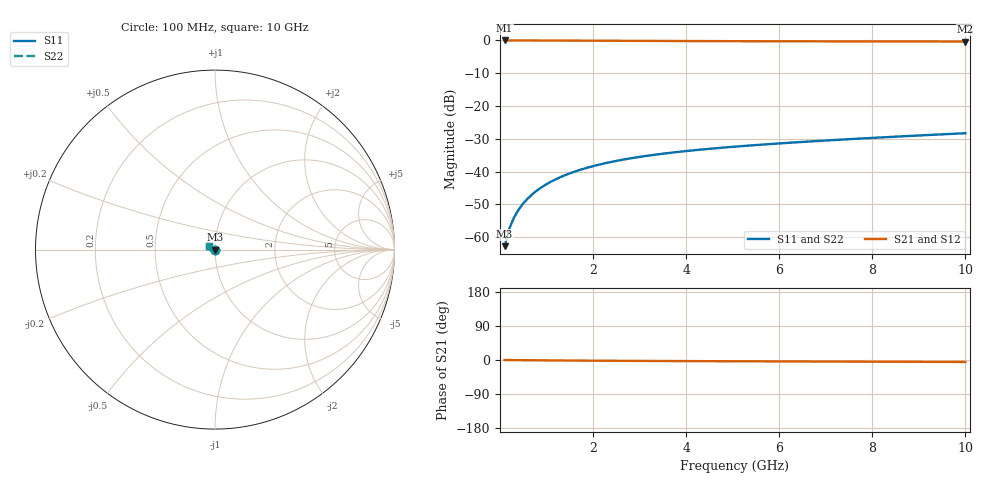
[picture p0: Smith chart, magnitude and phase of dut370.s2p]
! Touchstone file exported from HFSS 2024.1.0
!  File:  C:/UserFiles/LocalFiles/RDL_TSV_Batchsim/temp_TSV1_370_1779621906.aedt
!  Generated:  07:31:12 PM May 24, 2026
!  Design:  TSV1
!  Project:  temp_TSV1_370_1779621906
!  Setup:  Setup1
!  Solution:  Sweep
! Variables:
!  dtsv = 6.5um
!  hbump = 3um
!  htsv = 76.09um
!  lrdl = 252.1521522um
!  p = 40
!  p1 = 52.17um
!  t = 500um
!  trdl = 3um
!  wrdl = 24.89489489um
# GHz S MA R 50.000000
! Terminal data exported
! Port[1] = TSV22_T1
! Port[2] = TSV22_T2
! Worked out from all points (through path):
!   100 points, 100 MHz to 10 GHz, reference 50 ohm
!   highest |S21| = 0.00 dB at 100 MHz (marker M1); lowest = -0.3 dB at 10 GHz (marker M2)
!   lowest |S11| = -62.7 dB at 100 MHz (marker M3), VSWR 1.00, Z = 50 - j0.0666 ohm
!   |S11| at or under -10 dB: start of sweep to end of sweep
!   |S22| runs from -62.7 to -28.3 dB; largest |S21 - S12| = 2.2e-15
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0.1  0.0007309 -65.7  0.9996 -0.1  0.9996 -0.1  0.0007309 -65.7
! Gamma 0 0 0 0
! Port Impedance 50 0 50 0
0.2  0.001347 -80.5  0.9996 -0.2  0.9996 -0.2  0.001347 -80.5
0.3  0.001985 -87.4  0.9994 -0.3  0.9994 -0.3  0.001985 -87.4
0.4  0.002629 -92.0  0.9992 -0.4  0.9992 -0.4  0.002629 -92.0
0.5  0.003273 -95.7  0.999 -0.5  0.999 -0.5  0.003273 -95.7
0.6  0.003915 -98.9  0.9987 -0.6  0.9987 -0.6  0.003915 -98.9
0.7  0.004554 -101.7  0.9983 -0.7  0.9983 -0.7  0.004554 -101.7
0.8  0.005187 -104.4  0.998 -0.8  0.998 -0.8  0.005187 -104.4
0.9  0.005815 -107.0  0.9975 -0.9  0.9975 -0.9  0.005815 -107.0
1.1  0.007048 -111.8  0.9966 -1.1  0.9966 -1.1  0.007048 -111.8
1.4  0.008832 -118.5  0.995 -1.3  0.995 -1.3  0.008832 -118.5
1.6  0.009972 -122.7  0.9938 -1.5  0.9938 -1.5  0.009972 -122.7
1.8  0.01107 -126.8  0.9925 -1.7  0.9925 -1.7  0.01107 -126.8
2.1  0.01263 -132.6  0.9906 -1.9  0.9906 -1.9  0.01263 -132.6
2.5  0.01457 -139.9  0.9879 -2.2  0.9879 -2.2  0.01457 -139.9
2.9  0.01635 -146.7  0.9854 -2.4  0.9854 -2.4  0.01635 -146.7
3.4  0.01838 -154.4  0.9823 -2.6  0.9823 -2.6  0.01838 -154.4
4.2  0.02128 -165.5  0.978 -3.0  0.978 -3.0  0.02128 -165.5
5.1  0.0242 -176.1  0.9741 -3.4  0.9741 -3.4  0.0242 -176.1
6.7  0.02895 168.7  0.9691 -4.0  0.9691 -4.0  0.02895 168.7
8.4  0.03383 156.3  0.9655 -4.6  0.9655 -4.6  0.03383 156.3
10  0.03851 147.1  0.9631 -5.2  0.9631 -5.2  0.03851 147.1
